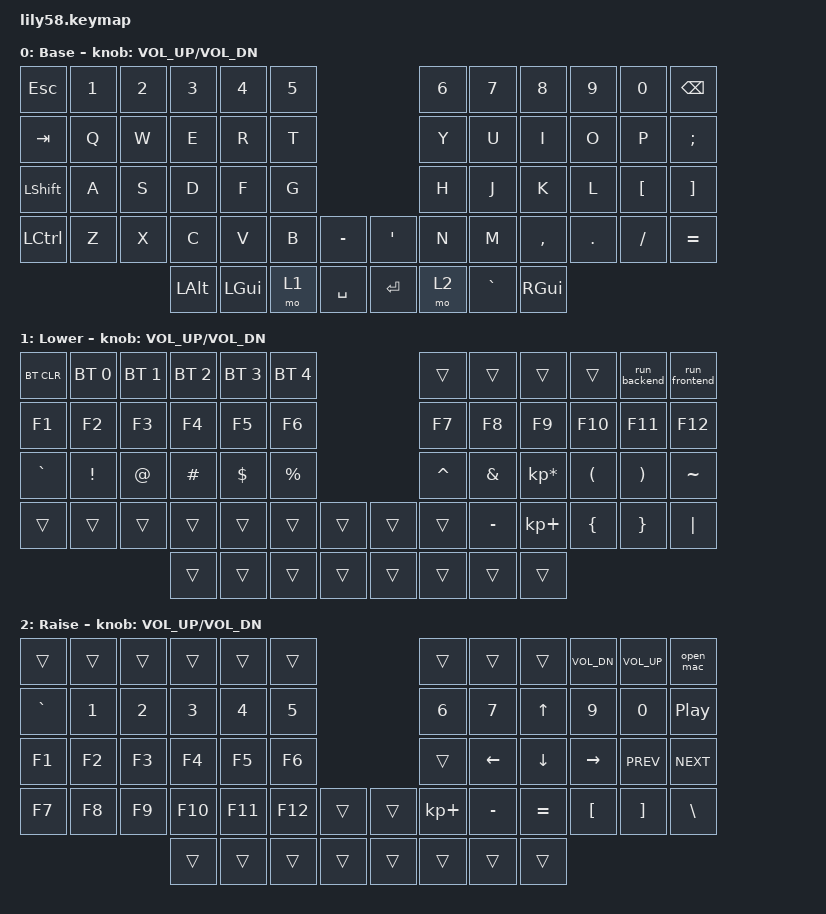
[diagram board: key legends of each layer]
/*
 * Copyright (c) 2020 The ZMK Contributors
 *
 * SPDX-License-Identifier: MIT
 */

#include <behaviors.dtsi>
#include <dt-bindings/zmk/bt.h>
#include <dt-bindings/zmk/keys.h>

/ {
    combos {
        compatible = "zmk,combos";

        sleep {
            bindings = <&kp LG(LC(Q))>;
            key-positions = <0 11>;
        };

        open_terminal {
            bindings = <&kp LC(TILDE)>;
            key-positions = <10 11>;
        };
    };

    macros {
        run_frontend: run_dev {
            compatible = "zmk,behavior-macro";
            #binding-cells = <0>;
            bindings =
                <&macro_tap>,
                <&kp N &kp P &kp M &kp SPACE &kp R &kp U &kp N &kp SPACE &kp D &kp E &kp V &kp RET>;

            label = "RUN_DEV";
        };

        run_backend: run_backend {
            compatible = "zmk,behavior-macro";
            #binding-cells = <0>;
            bindings =
                <&kp LC(TILDE)>,
                <&macro_tap>,
                <&kp U &kp V &kp I &kp C &kp O &kp R &kp N &kp SPACE &kp A &kp P &kp I &kp DOT &kp M &kp A &kp I &kp N &kp COLON &kp A &kp P &kp P &kp SPACE &kp MINUS &kp MINUS &kp R &kp E &kp L &kp O &kp A &kp D &kp RET>,
                <&macro_tap>,
                <&kp LC(TILDE) &kp D &kp R &kp A &kp M &kp A &kp T &kp I &kp Q &kp SPACE &kp MINUS &kp MINUS &kp W &kp A &kp T &kp C &kp H &kp EQUAL &kp DOT &kp SPACE &kp T &kp A &kp S &kp K &kp S &kp RET>;

            label = "RUN_BACKEND";
        };

        open_mac: open_mac {
            compatible = "zmk,behavior-macro";
            #binding-cells = <0>;
            bindings =
                <&macro_tap>,
                <&kp LS(S) &kp I &kp L &kp L &kp Y &kp LS(N) &kp E &kp T &kp NUMBER_1 &kp N0 &kp N8 &kp ENTER>;

            label = "OPEN_MAC";
        };
    };

    keymap {
        compatible = "zmk,keymap";

        default_layer {
            // ------------------------------------------------------------------------------------------------------------
            // |  ESC  |  1  |  2  |  3   |  4   |  5   |                   |  6   |  7    |  8    |  9   |   0   |   `   |
            // |  TAB  |  Q  |  W  |  E   |  R   |  T   |                   |  Y   |  U    |  I    |  O   |   P   |   -   |
            // |  CTRL |  A  |  S  |  D   |  F   |  G   |                   |  H   |  J    |  K    |  L   |   ;   |   '   |
            // | SHIFT |  Z  |  X  |  C   |  V   |  B   |   "["  |  |  "]"  |  N   |  M    |  ,    |  .   |   /   | SHIFT |
            //                     | ALT  | GUI  | LOWER|  SPACE |  | ENTER | RAISE| BSPC  | GUI   |

            display-name = "Base";
            bindings = <
&kp ESC         &kp N1  &kp N2  &kp N3    &kp N4    &kp N5                         &kp N6  &kp N7     &kp N8     &kp N9   &kp N0            &kp BACKSPACE
&kp TAB         &kp Q   &kp W   &kp E     &kp R     &kp T                          &kp Y   &kp U      &kp I      &kp O    &kp P             &kp SEMI
&kp LEFT_SHIFT  &kp A   &kp S   &kp D     &kp F     &kp G                          &kp H   &kp J      &kp K      &kp L    &kp LEFT_BRACKET  &kp RIGHT_BRACKET
&kp LCTRL       &kp Z   &kp X   &kp C     &kp V     &kp B   &kp MINUS    &kp APOS  &kp N   &kp M      &kp COMMA  &kp DOT  &kp FSLH          &kp EQUAL
                                &kp LALT  &kp LGUI  &mo 1   &kp SPACE    &kp RET   &mo 2   &kp GRAVE  &kp RGUI
            >;

            sensor-bindings = <&inc_dec_kp C_VOL_UP C_VOL_DN>;
        };

        lower_layer {
            // ------------------------------------------------------------------------------------------------------------
            // | BTCLR | BT1 | BT2 |  BT3 |  BT4 |  BT5 |                   |      |       |       |      |       |       |
            // |  F1   |  F2 |  F3 |  F4  |  F5  |  F6  |                   |  F7  |  F8   |  F9   |  F10 |  F11  |  F12  |
            // |   `   |  !  |  @  |  #   |  $   |  %   |                   |  ^   |  &    |  *    |  (   |   )   |   ~   |
            // |       |     |     |      |      |      |        |  |       |      |  _    |  +    |  {   |   }   |  "|"  |
            //                     |      |      |      |        |  |       |      |       |       |

            display-name = "Lower";
            bindings = <
&bt BT_CLR  &bt BT_SEL 0  &bt BT_SEL 1  &bt BT_SEL 2  &bt BT_SEL 3  &bt BT_SEL 4                    &trans     &trans     &trans           &trans    &run_backend  &run_frontend
&kp F1      &kp F2        &kp F3        &kp F4        &kp F5        &kp F6                          &kp F7     &kp F8     &kp F9           &kp F10   &kp F11       &kp F12
&kp GRAVE   &kp EXCL      &kp AT        &kp HASH      &kp DOLLAR    &kp PRCNT                       &kp CARET  &kp AMPS   &kp KP_MULTIPLY  &kp LPAR  &kp RPAR      &kp TILDE
&trans      &trans        &trans        &trans        &trans        &trans        &trans    &trans  &trans     &kp MINUS  &kp KP_PLUS      &kp LBRC  &kp RBRC      &kp PIPE
                                        &trans        &trans        &trans        &trans    &trans  &trans     &trans     &trans
            >;

            sensor-bindings = <&inc_dec_kp C_VOL_UP C_VOL_DN>;
        };

        raise_layer {
            // ------------------------------------------------------------------------------------------------------------
            // |       |     |     |      |      |      |                   |      |       |       |      |       |       |
            // |   `   |  1  |  2  |  3   |  4   |  5   |                   |  6   |   7   |   8   |  9   |   0   |       |
            // |   F1  |  F2 |  F3 |  F4  |  F5  |  F6  |                   |      |   <-  |   v   |  ^   |  ->   |       |
            // |   F7  |  F8 |  F9 |  F10 |  F11 |  F12 |        |  |       |  +   |   -   |   =   |  [   |   ]   |   \   |
            //                     |      |      |      |        |  |       |      |       |       |

            display-name = "Raise";
            bindings = <
&trans     &trans  &trans  &trans   &trans   &trans                     &trans       &trans     &trans        &kp C_VOL_DN  &kp C_VOL_UP  &open_mac
&kp GRAVE  &kp N1  &kp N2  &kp N3   &kp N4   &kp N5                     &kp N6       &kp N7     &kp UP_ARROW  &kp N9        &kp N0        &kp C_PLAY_PAUSE
&kp F1     &kp F2  &kp F3  &kp F4   &kp F5   &kp F6                     &trans       &kp LEFT   &kp DOWN      &kp RIGHT     &kp C_PREV    &kp C_NEXT
&kp F7     &kp F8  &kp F9  &kp F10  &kp F11  &kp F12  &trans    &trans  &kp KP_PLUS  &kp MINUS  &kp EQUAL     &kp LBKT      &kp RBKT      &kp BSLH
                           &trans   &trans   &trans   &trans    &trans  &trans       &trans     &trans
            >;

            sensor-bindings = <&inc_dec_kp C_VOL_UP C_VOL_DN>;
        };
    };
};
